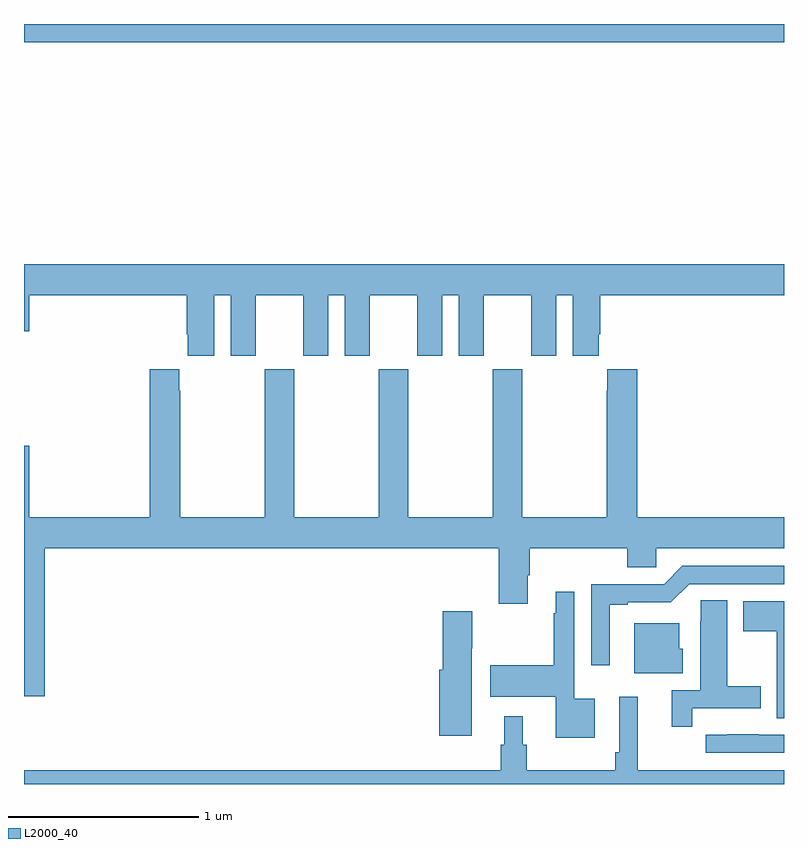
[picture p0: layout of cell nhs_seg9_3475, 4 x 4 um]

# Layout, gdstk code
import gdstk
lib = gdstk.Library(unit=1e-6, precision=1e-09)
def R(c, l, rs):  # rectangles x0, y0, x1, y1
    for r in rs: c.add(gdstk.rectangle(r[:2], r[2:], *l))
def P(c, l, *ps):  # polygons
    for p in ps: c.add(gdstk.Polygon(p, *l))
L2000_40 = (2000, 40)

nhs_seg9_3475 = lib.new_cell('nhs_seg9_3475')
R(nhs_seg9_3475, L2000_40, [(309,1212.404,313,1212.5)])
P(nhs_seg9_3475, L2000_40, [(310,1211.072),(310.088,1211.072),(310.088,1210.755),(310.219,1210.755),(310.219,1211.072),(310.469,1211.072),(310.469,1210.755),(310.6,1210.755),(310.6,1211.072),(310.688,1211.072),(310.688,1210.755),(310.819,1210.755),(310.819,1211.072),(311.069,1211.072),(311.069,1210.755),(311.2,1210.755),(311.2,1211.072),(311.288,1211.072),(311.288,1210.755),(311.419,1210.755),(311.419,1211.072),(311.669,1211.072),(311.669,1210.755),(311.8,1210.755),(311.8,1211.072),(311.888,1211.072),(311.888,1210.755),(312.025,1210.755),(312.025,1210.867),(312.032,1210.867),(312.032,1211.072),(313,1211.072),(313,1211.236),(309,1211.236),(309,1210.884),(309.028,1210.884),(309.028,1211.072),(309.857,1211.072),(309.857,1210.867),(309.863,1210.867),(309.863,1210.755),(310,1210.755)],
  [(311.498,1209.45),(311.65,1209.45),(311.65,1209.598),(311.663,1209.598),(311.663,1209.74),(312.176,1209.74),(312.176,1209.642),(312.327,1209.642),(312.327,1209.74),(313,1209.74),(313,1209.904),(312.227,1209.904),(312.227,1210.684),(312.071,1210.684),(312.071,1210.571),(312.067,1210.571),(312.067,1209.904),(311.622,1209.904),(311.622,1210.684),(311.467,1210.684),(311.467,1209.904),(311.022,1209.904),(311.022,1210.684),(310.867,1210.684),(310.867,1209.904),(310.422,1209.904),(310.422,1210.684),(310.267,1210.684),(310.267,1209.904),(309.822,1209.904),(309.822,1210.571),(309.817,1210.571),(309.817,1210.684),(309.662,1210.684),(309.662,1209.904),(309.028,1209.904),(309.028,1210.279),(309,1210.279),(309,1208.961),(309.11,1208.961),(309.11,1209.74),(311.498,1209.74)],
  [(312.082,1209.444),(312.178,1209.444),(312.178,1209.456),(312.405,1209.456),(312.501,1209.552),(313,1209.552),(313,1209.648),(312.465,1209.648),(312.369,1209.552),(311.985,1209.552),(311.985,1209.126),(312.082,1209.126)],
  [(312.004,1208.95),(311.895,1208.95),(311.895,1209.511),(311.798,1209.511),(311.798,1209.398),(311.787,1209.398),(311.787,1209.126),(311.454,1209.126),(311.454,1208.96),(311.798,1208.96),(311.798,1208.744),(312.004,1208.744)],
  [(312.518,1208.898),(312.877,1208.898),(312.877,1209.015),(312.7,1209.015),(312.7,1209.467),(312.561,1209.467),(312.561,1209.356),(312.56,1209.356),(312.56,1208.994),(312.41,1208.994),(312.41,1208.802),(312.518,1208.802)],
  [(313,1209.463),(312.785,1209.463),(312.785,1209.304),(312.962,1209.304),(312.962,1208.845),(313,1208.845)],
  [(311.356,1209.214),(311.358,1209.214),(311.358,1209.409),(311.204,1209.409),(311.204,1209.102),(311.186,1209.102),(311.186,1208.754),(311.356,1208.754)],
  [(312.466,1209.213),(312.448,1209.213),(312.448,1209.346),(312.212,1209.346),(312.212,1209.083),(312.466,1209.083)],
  [(313,1208.572),(312.23,1208.572),(312.23,1208.959),(312.132,1208.959),(312.132,1208.668),(312.112,1208.668),(312.112,1208.572),(311.645,1208.572),(311.645,1208.706),(311.626,1208.706),(311.626,1208.857),(311.528,1208.857),(311.528,1208.706),(311.509,1208.706),(311.509,1208.572),(309,1208.572),(309,1208.5),(313,1208.5)],
  [(313,1208.76),(312.866,1208.76),(312.866,1208.761),(312.7,1208.761),(312.7,1208.76),(312.588,1208.76),(312.588,1208.664),(313,1208.664)])

lib.write_gds('nhs_seg9_3475.gds')
